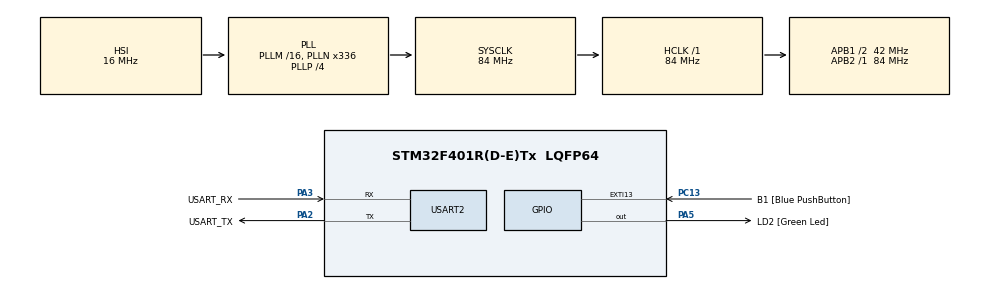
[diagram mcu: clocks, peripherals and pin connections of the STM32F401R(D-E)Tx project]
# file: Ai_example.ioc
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Mcu.Family=STM32F4
Mcu.Name=STM32F401R(D-E)Tx
Mcu.Package=LQFP64
NVIC.PriorityGroup=NVIC_PRIORITYGROUP_0
PA13.GPIO_Label=TMS
PA13.Mode=Serial_Wire
PA13.Signal=SYS_JTMS-SWDIO
PA14.GPIO_Label=TCK
PA14.Mode=Serial_Wire
PA14.Signal=SYS_JTCK-SWCLK
PA2.GPIO_Label=USART_TX
PA2.GPIO_Mode=GPIO_MODE_AF_PP
PA2.GPIO_PuPd=GPIO_NOPULL
PA2.GPIO_Speed=GPIO_SPEED_FREQ_LOW
PA2.Mode=Asynchronous
PA2.Signal=USART2_TX
PA3.GPIO_Label=USART_RX
PA3.GPIO_Mode=GPIO_MODE_AF_PP
PA3.GPIO_PuPd=GPIO_NOPULL
PA3.GPIO_Speed=GPIO_SPEED_FREQ_LOW
PA3.Mode=Asynchronous
PA3.Signal=USART2_RX
PA5.GPIO_Label=LD2 [Green Led]
PA5.GPIO_Mode=GPIO_MODE_OUTPUT_PP
PA5.GPIO_PuPd=GPIO_NOPULL
PA5.GPIO_Speed=GPIO_SPEED_FREQ_LOW
PA5.Signal=GPIO_Output
PB3.GPIO_Label=SWO
PB3.Signal=SYS_JTDO-SWO
PC13-ANTI_TAMP.GPIO_Label=B1 [Blue PushButton]
PC13-ANTI_TAMP.GPIO_ModeDefaultEXTI=GPIO_MODE_IT_FALLING
PC13-ANTI_TAMP.GPIO_PuPd=GPIO_NOPULL
PC13-ANTI_TAMP.Signal=GPXTI13
PC14-OSC32_IN.Mode=LSE-External-Oscillator
PC14-OSC32_IN.Signal=RCC_OSC32_IN
PC15-OSC32_OUT.Mode=LSE-External-Oscillator
PC15-OSC32_OUT.Signal=RCC_OSC32_OUT
PH0\ -\ OSC_IN.Mode=HSE-External-Clock-Source
PH0\ -\ OSC_IN.Signal=RCC_OSC_IN
PH1\ -\ OSC_OUT.Mode=HSE-External-Clock-Source
PH1\ -\ OSC_OUT.Signal=RCC_OSC_OUT
ProjectManager.HeapSize=0x200
ProjectManager.StackSize=0x800
ProjectManager.TargetToolchain=STM32CubeIDE
RCC.48MHZClocksFreq_Value=48000000
RCC.AHBFreq_Value=84000000
RCC.APB1CLKDivider=RCC_HCLK_DIV2
RCC.APB1Freq_Value=42000000
RCC.APB1TimFreq_Value=84000000
RCC.APB2Freq_Value=84000000
RCC.APB2TimFreq_Value=84000000
RCC.CortexFreq_Value=84000000
RCC.HCLKFreq_Value=84000000
RCC.HSE_VALUE=8000000
RCC.HSI_VALUE=16000000
RCC.PLLN=336
RCC.PLLP=RCC_PLLP_DIV4
RCC.PLLQ=7
RCC.SYSCLKFreq_VALUE=84000000
RCC.SYSCLKSource=RCC_SYSCLKSOURCE_PLLCLK
RCC.VCOOutputFreq_Value=336000000
STMicroelectronics.X-CUBE-AI.5.2.0.ActivationBufferSizeList=116
STMicroelectronics.X-CUBE-AI.5.2.0.HeapSize=0x200
STMicroelectronics.X-CUBE-AI.5.2.0.InternalRamActivationBufferMaxSize=AI_NETWORK_DATA_ACTIVATIONS_SIZE
STMicroelectronics.X-CUBE-AI.5.2.0.LatestDirectoryUsed-36a0b7371a2d58f1fe80b61818fc52dd5a32cd0fc25b9eb23839d902c043db44=C\:\\Users\\Altug\\Desktop\\Ai_in_Mcu
STMicroelectronics.X-CUBE-AI.5.2.0.MaximumNumberOfInputLayer=1
STMicroelectronics.X-CUBE-AI.5.2.0.MaximumNumberOfOutputLayer=1
STMicroelectronics.X-CUBE-AI.5.2.0.MaximumSizeOfInputLayer=AI_NETWORK_IN_1_SIZE_BYTES
STMicroelectronics.X-CUBE-AI.5.2.0.MaximumSizeOfOutputLayer=AI_NETWORK_OUT_1_SIZE_BYTES
STMicroelectronics.X-CUBE-AI.5.2.0.ModelActualCompression-36a0b7371a2d58f1fe80b61818fc52dd5a32cd0fc25b9eb23839d902c043db44=0.0
STMicroelectronics.X-CUBE-AI.5.2.0.ModelCompression-36a0b7371a2d58f1fe80b61818fc52dd5a32cd0fc25b9eb23839d902c043db44=1
STMicroelectronics.X-CUBE-AI.5.2.0.ModelFlashOccupation-36a0b7371a2d58f1fe80b61818fc52dd5a32cd0fc25b9eb23839d902c043db44=1060
STMicroelectronics.X-CUBE-AI.5.2.0.ModelHashList=36a0b7371a2d58f1fe80b61818fc52dd5a32cd0fc25b9eb23839d902c043db44
STMicroelectronics.X-CUBE-AI.5.2.0.ModelKind-36a0b7371a2d58f1fe80b61818fc52dd5a32cd0fc25b9eb23839d902c043db44=TFLITE
STMicroelectronics.X-CUBE-AI.5.2.0.ModelMacc-36a0b7371a2d58f1fe80b61818fc52dd5a32cd0fc25b9eb23839d902c043db44=265
STMicroelectronics.X-CUBE-AI.5.2.0.ModelName-36a0b7371a2d58f1fe80b61818fc52dd5a32cd0fc25b9eb23839d902c043db44=network
STMicroelectronics.X-CUBE-AI.5.2.0.ModelNameList=network
STMicroelectronics.X-CUBE-AI.5.2.0.ModelRamOccupation-36a0b7371a2d58f1fe80b61818fc52dd5a32cd0fc25b9eb23839d902c043db44=116
STMicroelectronics.X-CUBE-AI.5.2.0.ModelStructureFile-36a0b7371a2d58f1fe80b61818fc52dd5a32cd0fc25b9eb23839d902c043db44=C\:\\Users\\Altug\\Desktop\\Ai_in_Mcu\\fisher.tflite
STMicroelectronics.X-CUBE-AI.5.2.0.ModelType-36a0b7371a2d58f1fe80b61818fc52dd5a32cd0fc25b9eb23839d902c043db44=Saved model
STMicroelectronics.X-CUBE-AI.5.2.0.StackSize=0x800
STMicroelectronics.X-CUBE-AI.5.2.0.WorkingBufferStartAddrList=0xFFFFFFFF
STMicroelectronics.X-CUBE-AI.5.2.0.XAaCUBEAaAICcArtificialOoIntelligenceJjCore=true
USART2.VirtualMode=VM_ASYNC
VP_CRC_VS_CRC.Mode=CRC_Activate
VP_STMicroelectronics.X-CUBE-AI_VS_ArtificialOoIntelligenceJjXAaCUBEAaAI_5.2.0.Mode=ArtificialOoIntelligenceJjXAaCUBEAaAI
board=NUCLEO-F401RE

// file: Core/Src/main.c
/* USER CODE BEGIN Header */
/**
  ******************************************************************************
  * @file           : main.c
  * @brief          : Main program body
  ******************************************************************************
  * @attention
  *
  * <h2><center>&copy; Copyright (c) 2020 STMicroelectronics.
  * All rights reserved.</center></h2>
  *
  * This software component is licensed by ST under BSD 3-Clause license,
  * the "License"; You may not use this file except in compliance with the
  * License. You may obtain a copy of the License at:
  *                        opensource.org/licenses/BSD-3-Clause
  *
  ******************************************************************************
  */
/* USER CODE END Header */
#include "main.h"

/* USER CODE BEGIN Includes */
#include <stdio.h>

#include "ai_datatypes_defines.h"
#include "ai_platform.h"
#include "network.h"
#include "network_data.h"
/* USER CODE END Includes */

CRC_HandleTypeDef hcrc;

UART_HandleTypeDef huart2;

void SystemClock_Config(void);
static void MX_GPIO_Init(void);
static void MX_USART2_UART_Init(void);
static void MX_CRC_Init(void);

int main(void)
{
  /* USER CODE BEGIN 1 */
	char buf[50];
		int buf_len = 0;
		ai_error ai_err;
		ai_i32 nbatch;
		float output;

		// Chunk of memory used to hold intermediate values for neural network
		AI_ALIGNED(4) ai_u8 activations[AI_NETWORK_DATA_ACTIVATIONS_SIZE];

		// Buffers used to store input and output tensors
		AI_ALIGNED(4) ai_i8 in_data[AI_NETWORK_IN_1_SIZE_BYTES];
		AI_ALIGNED(4) ai_i8 out_data[AI_NETWORK_OUT_1_SIZE_BYTES];

		// Pointer to our model
		ai_handle network = AI_HANDLE_NULL;

		// Initialize wrapper structs that hold pointers to data and info about the
		// data (tensor height, width, channels)
		ai_buffer ai_input[AI_NETWORK_IN_NUM] = AI_NETWORK_IN;
		ai_buffer ai_output[AI_NETWORK_OUT_NUM] = AI_NETWORK_OUT;

		// Set working memory and get weights/biases from model
		ai_network_params ai_params = {
		AI_NETWORK_DATA_WEIGHTS(ai_network_data_weights_get()),
		AI_NETWORK_DATA_ACTIVATIONS(activations) };

		// Set pointers wrapper structs to our data buffers
		ai_input[0].n_batches = 1;
		ai_input[0].data = AI_HANDLE_PTR(in_data);
		ai_output[0].n_batches = 1;
		ai_output[0].data = AI_HANDLE_PTR(out_data);
  /* USER CODE END 1 */

  /* MCU Configuration--------------------------------------------------------*/

  /* Reset of all peripherals, Initializes the Flash interface and the Systick. */
  HAL_Init();

  /* Configure the system clock */
  SystemClock_Config();

  /* Initialize all configured peripherals */
  MX_GPIO_Init();
  MX_USART2_UART_Init();
  MX_CRC_Init();
  /* USER CODE BEGIN 2 */
  // Create instance of neural network
  	ai_err = ai_network_create(&network, AI_NETWORK_DATA_CONFIG);
  	if (ai_err.type != AI_ERROR_NONE) {
  		buf_len = sprintf(buf, "Error: could not create NN instance\r\n");
  		HAL_UART_Transmit(&huart2, (uint8_t*) buf, buf_len, 100);
  		while (1)
  			;
  	}

  	// Initialize neural network
  	if (!ai_network_init(network, &ai_params)) {
  		buf_len = sprintf(buf, "Error: could not initialize NN\r\n");
  		HAL_UART_Transmit(&huart2, (uint8_t*) buf, buf_len, 100);
  		while (1)
  			;
  	}
  /* USER CODE END 2 */

  /* Infinite loop */
  /* USER CODE BEGIN WHILE */
  while (1)
  {
	  for (uint32_t i = 0; i < AI_NETWORK_IN_1_SIZE; i++) {
	  			((ai_float*) in_data)[i] = (ai_float) 2.0f;
	  		}

	  				((ai_float*) in_data)[0] = (ai_float) 5.6f;
	  				((ai_float*) in_data)[1] = (ai_float) 2.5f;
	  				((ai_float*) in_data)[2] = (ai_float) 3.9f;
	  				((ai_float*) in_data)[3] = (ai_float) 1.1f;

	  		// Perform inference
	  		nbatch = ai_network_run(network, &ai_input[0], &ai_output[0]);
	  		if (nbatch != 1) {
	  			buf_len = sprintf(buf, "Error: could not run inference\r\n");
	  			HAL_UART_Transmit(&huart2, (uint8_t*) buf, buf_len, 100);
	  		}

	  		// Read output (predicted y) of neural network
	  		output = ((float*) out_data)[0];

	  		buf_len = sprintf(buf, "Input: %f , %f , %f, %f | \r\n",
	  						((ai_float*) in_data)[0], ((ai_float*) in_data)[1],
	  						((ai_float*) in_data)[2], ((ai_float*) in_data)[3]);
	  				HAL_UART_Transmit(&huart2, (uint8_t*) buf, buf_len, 100);

	  				buf_len = sprintf(buf, "Output: %f , | \r\n", output);
	  				HAL_UART_Transmit(&huart2, (uint8_t*) buf, buf_len, 100);

    /* USER CODE END WHILE */

  }
}

void SystemClock_Config(void)
{
  RCC_OscInitTypeDef RCC_OscInitStruct = {0};
  RCC_ClkInitTypeDef RCC_ClkInitStruct = {0};

  /** Configure the main internal regulator output voltage
  */
  __HAL_RCC_PWR_CLK_ENABLE();
  __HAL_PWR_VOLTAGESCALING_CONFIG(PWR_REGULATOR_VOLTAGE_SCALE2);
  /** Initializes the RCC Oscillators according to the specified parameters
  * in the RCC_OscInitTypeDef structure.
  */
  RCC_OscInitStruct.OscillatorType = RCC_OSCILLATORTYPE_HSI;
  RCC_OscInitStruct.HSIState = RCC_HSI_ON;
  RCC_OscInitStruct.HSICalibrationValue = RCC_HSICALIBRATION_DEFAULT;
  RCC_OscInitStruct.PLL.PLLState = RCC_PLL_ON;
  RCC_OscInitStruct.PLL.PLLSource = RCC_PLLSOURCE_HSI;
  RCC_OscInitStruct.PLL.PLLM = 16;
  RCC_OscInitStruct.PLL.PLLN = 336;
  RCC_OscInitStruct.PLL.PLLP = RCC_PLLP_DIV4;
  RCC_OscInitStruct.PLL.PLLQ = 7;
  if (HAL_RCC_OscConfig(&RCC_OscInitStruct) != HAL_OK)
  {
    Error_Handler();
  }
  /** Initializes the CPU, AHB and APB buses clocks
  */
  RCC_ClkInitStruct.ClockType = RCC_CLOCKTYPE_HCLK|RCC_CLOCKTYPE_SYSCLK
                              |RCC_CLOCKTYPE_PCLK1|RCC_CLOCKTYPE_PCLK2;
  RCC_ClkInitStruct.SYSCLKSource = RCC_SYSCLKSOURCE_PLLCLK;
  RCC_ClkInitStruct.AHBCLKDivider = RCC_SYSCLK_DIV1;
  RCC_ClkInitStruct.APB1CLKDivider = RCC_HCLK_DIV2;
  RCC_ClkInitStruct.APB2CLKDivider = RCC_HCLK_DIV1;

  if (HAL_RCC_ClockConfig(&RCC_ClkInitStruct, FLASH_LATENCY_2) != HAL_OK)
  {
    Error_Handler();
  }
}

static void MX_CRC_Init(void)
{

  hcrc.Instance = CRC;
  if (HAL_CRC_Init(&hcrc) != HAL_OK)
  {
    Error_Handler();
  }

}

static void MX_USART2_UART_Init(void)
{

  huart2.Instance = USART2;
  huart2.Init.BaudRate = 115200;
  huart2.Init.WordLength = UART_WORDLENGTH_8B;
  huart2.Init.StopBits = UART_STOPBITS_1;
  huart2.Init.Parity = UART_PARITY_NONE;
  huart2.Init.Mode = UART_MODE_TX_RX;
  huart2.Init.HwFlowCtl = UART_HWCONTROL_NONE;
  huart2.Init.OverSampling = UART_OVERSAMPLING_16;
  if (HAL_UART_Init(&huart2) != HAL_OK)
  {
    Error_Handler();
  }

}

static void MX_GPIO_Init(void)
{
  GPIO_InitTypeDef GPIO_InitStruct = {0};

  /* GPIO Ports Clock Enable */
  __HAL_RCC_GPIOC_CLK_ENABLE();
  __HAL_RCC_GPIOH_CLK_ENABLE();
  __HAL_RCC_GPIOA_CLK_ENABLE();
  __HAL_RCC_GPIOB_CLK_ENABLE();

  /*Configure GPIO pin Output Level */
  HAL_GPIO_WritePin(LD2_GPIO_Port, LD2_Pin, GPIO_PIN_RESET);

  /*Configure GPIO pin : B1_Pin */
  GPIO_InitStruct.Pin = B1_Pin;
  GPIO_InitStruct.Mode = GPIO_MODE_IT_FALLING;
  GPIO_InitStruct.Pull = GPIO_NOPULL;
  HAL_GPIO_Init(B1_GPIO_Port, &GPIO_InitStruct);

  /*Configure GPIO pin : LD2_Pin */
  GPIO_InitStruct.Pin = LD2_Pin;
  GPIO_InitStruct.Mode = GPIO_MODE_OUTPUT_PP;
  GPIO_InitStruct.Pull = GPIO_NOPULL;
  GPIO_InitStruct.Speed = GPIO_SPEED_FREQ_LOW;
  HAL_GPIO_Init(LD2_GPIO_Port, &GPIO_InitStruct);

}

void Error_Handler(void)
{
}

/************************ (C) COPYRIGHT STMicroelectronics *****END OF FILE****/
